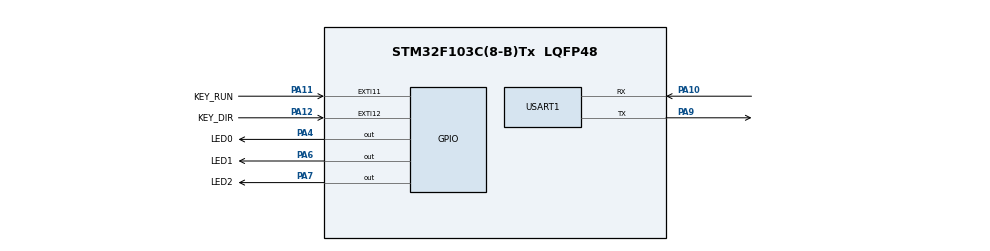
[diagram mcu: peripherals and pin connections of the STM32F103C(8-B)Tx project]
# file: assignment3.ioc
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Mcu.Family=STM32F1
Mcu.Name=STM32F103C(8-B)Tx
Mcu.Package=LQFP48
NVIC.EXTI15_10_IRQn=true\:0\:0\:false\:false\:true\:true\:true\:true
NVIC.PriorityGroup=NVIC_PRIORITYGROUP_4
NVIC.USART1_IRQn=true\:0\:0\:false\:false\:true\:true\:true\:true
PA10.Mode=Asynchronous
PA10.Signal=USART1_RX
PA11.GPIO_Label=KEY_RUN
PA11.GPIO_ModeDefaultEXTI=GPIO_MODE_IT_FALLING
PA11.GPIO_PuPd=GPIO_PULLUP
PA11.Signal=GPXTI11
PA12.GPIO_Label=KEY_DIR
PA12.GPIO_ModeDefaultEXTI=GPIO_MODE_IT_FALLING
PA12.GPIO_PuPd=GPIO_PULLUP
PA12.Signal=GPXTI12
PA13.Mode=Serial_Wire
PA13.Signal=SYS_JTMS-SWDIO
PA14.Mode=Serial_Wire
PA14.Signal=SYS_JTCK-SWCLK
PA4.GPIO_Label=LED0
PA4.GPIO_ModeDefaultOutputPP=GPIO_MODE_OUTPUT_PP
PA4.Signal=GPIO_Output
PA6.GPIO_Label=LED1
PA6.GPIO_ModeDefaultOutputPP=GPIO_MODE_OUTPUT_PP
PA6.GPIO_Speed=GPIO_SPEED_FREQ_HIGH
PA6.Signal=GPIO_Output
PA7.GPIO_Label=LED2
PA7.GPIO_ModeDefaultOutputPP=GPIO_MODE_OUTPUT_PP
PA7.GPIO_Speed=GPIO_SPEED_FREQ_HIGH
PA7.Signal=GPIO_Output
PA9.Mode=Asynchronous
PA9.Signal=USART1_TX
PD0-OSC_IN.Mode=HSE-External-Clock-Source
PD0-OSC_IN.Signal=RCC_OSC_IN
PD1-OSC_OUT.Mode=HSE-External-Clock-Source
PD1-OSC_OUT.Signal=RCC_OSC_OUT
ProjectManager.HeapSize=0x200
ProjectManager.StackSize=0x400
ProjectManager.TargetToolchain=STM32CubeIDE
RCC.APB1Freq_Value=8000000
RCC.APB2Freq_Value=8000000
RCC.PLLSourceVirtual=RCC_PLLSOURCE_HSE
RCC.USBFreq_Value=16000000
USART1.VirtualMode=VM_ASYNC
board=custom

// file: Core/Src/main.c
/* USER CODE BEGIN Header */
/**
  ******************************************************************************
  * @file           : main.c
  * @brief          : Main program body
  ******************************************************************************
  * @attention
  *
  * Copyright (c) 2026 STMicroelectronics.
  * All rights reserved.
  *
  * This software is licensed under terms that can be found in the LICENSE file
  * in the root directory of this software component.
  * If no LICENSE file comes with this software, it is provided AS-IS.
  *
  ******************************************************************************
  */
/* USER CODE END Header */
#include "main.h"
#include "usart.h"
#include "gpio.h"

/* USER CODE BEGIN Includes */
#include "OLED.h"
#include <stdio.h>
/* USER CODE END Includes */

/* USER CODE BEGIN PTD */
typedef struct __attribute__((packed))
{
  uint8_t header;     // 固定帧头 AA
  uint8_t run;        // 00暂停，01运行
  uint8_t dir;        // 00正向，01反向
  uint16_t step_ms;   // 先低字节、后高字节的切换间隔
  uint8_t checksum;   // 前5字节相加后保留低8位
} RxPacket;
/* USER CODE END PTD */

/* USER CODE BEGIN PD */
/* USER CODE BEGIN PD */
#define LED_ON  GPIO_PIN_RESET
#define LED_OFF GPIO_PIN_SET
/* USER CODE END PD */

/* USER CODE BEGIN PV */
volatile uint8_t key_run_event = 0U;  // PA11 中断设置的运行/暂停事件
volatile uint8_t key_dir_event = 0U;  // PA12 中断设置的方向切换事件

uint8_t lamp_running = 1U;      // 0：暂停；1：运行
uint8_t lamp_direction = 0U;    // 0：正向；1：反向
uint16_t lamp_step_ms = 500U;  // 当前切换间隔，串口可修改
uint8_t lamp_led = 0U;  // 当前LED编号：0、1、2
uint8_t oled_dirty = 0U;  // 0：显示已同步；1：需要刷新
uint32_t last_run_key_tick = 0U;  // PA11 上一次有效按下的时间
uint32_t last_dir_key_tick = 0U;  // PA12 上一次有效按下的时间
uint8_t run_key_checking = 0U;    // PA11 正在等待 20ms 电平确认
uint8_t dir_key_checking = 0U;    // PA12 正在等待 20ms 电平确认
volatile uint8_t rx_error_flag = 0U;  // 整包接收重启失败标志
RxPacket rx_packet;                    // 串口中断写入的完整数据包
volatile uint8_t packet_ready = 0U;    // 1表示6字节完整包已收到

char feedback_buffer[64];              // 中断发送期间保持有效的文本
uint8_t feedback_pending = 0U;         // 1表示需要发送状态反馈
volatile uint8_t uart_tx_busy = 0U;   // 1表示USART1正在中断发送
/* USER CODE END PV */

void SystemClock_Config(void);

/* USER CODE BEGIN 0 */
/* USER CODE BEGIN 0 */
static void OLED_RefreshStatus(void)
{
  OLED_ShowString(
      1, 1,
      (lamp_running == 0U) ? "STATE: pausing" : "STATE: running  "
  );

  OLED_ShowString(
      2, 1,
      (lamp_direction == 0U) ? "DIR: forward " : "DIR: backward"
  );
  uint32_t a =HAL_GetTick();
  OLED_ShowString(3, 1, "STEP:");
  OLED_ShowNum(3, 6, (uint32_t)lamp_step_ms, 4);

  OLED_ShowString(4, 1, "LED:");
  OLED_ShowNum(4, 5, (uint32_t)(lamp_led + 1U), 1);
}
/* USER CODE END 0 */
/* USER CODE END 0 */

int main(void)
{

  /* MCU Configuration--------------------------------------------------------*/

  /* Reset of all peripherals, Initializes the Flash interface and the Systick. */
  HAL_Init();

  /* Configure the system clock */
  SystemClock_Config();

  /* Initialize all configured peripherals */
  MX_GPIO_Init();
  MX_USART1_UART_Init();
  /* USER CODE BEGIN 2 */
  OLED_Init();
  OLED_RefreshStatus();
  uint32_t last_tick = HAL_GetTick();
  HAL_StatusTypeDef rx_result;

  rx_result = HAL_UART_Receive_IT(
    &huart1,
    (uint8_t *)&rx_packet,
    sizeof(rx_packet)
);

  if (rx_result != HAL_OK)
  {
    Error_Handler();
  }
  uint8_t hello[] = "HELLO\r\n";  // 启动时发送的测试文本

  if (HAL_UART_Transmit(
          &huart1,
          hello,
          sizeof(hello) - 1,
          100) != HAL_OK)
  {
    Error_Handler();  // 串口发送失败时进入错误处理
  }
  /* USER CODE END 2 */

  /* Infinite loop */
  while (1)
  {

    /* USER CODE BEGIN 3 */
    uint32_t now = HAL_GetTick();  // 获取本轮主循环的当前时间
    if (packet_ready != 0U)
    {
      RxPacket packet = rx_packet;  // 复制本地副本
      packet_ready = 0U;            // 当前包已经签收

      const uint8_t *bytes = (const uint8_t *)&packet;

      uint8_t expected =
          (uint8_t)(bytes[0] + bytes[1] + bytes[2]
                  + bytes[3] + bytes[4]);

      // 所有检查同时通过才更新状态
      if (packet.header == 0xAAU &&
          packet.checksum == expected &&
          packet.run <= 1U &&
          packet.dir <= 1U &&
          packet.step_ms >= 100U &&
          packet.step_ms <= 2000U)
      {
        lamp_running = packet.run;
        lamp_direction = packet.dir;
        lamp_step_ms = packet.step_ms;
        oled_dirty = 1U;
        feedback_pending = 1U;
      }

      // 当前包处理完后，重新启动下一包接收
      if (HAL_UART_Receive_IT(
              &huart1,
              (uint8_t *)&rx_packet,
              sizeof(rx_packet)) != HAL_OK)
      {
        rx_error_flag = 1U;
      }
    }

    // 如果重启接收失败，主循环继续重试
    if (rx_error_flag != 0U)
    {
      if (HAL_UART_Receive_IT(
              &huart1,
              (uint8_t *)&rx_packet,
              sizeof(rx_packet)) == HAL_OK)
      {
        rx_error_flag = 0U;
      }
    }

    if (key_run_event != 0U)  // 收到 PA11 下降沿事件
    {
      key_run_event = 0U;
      last_run_key_tick = now;
      run_key_checking = 1U;
    }

    if (run_key_checking != 0U &&
        (now - last_run_key_tick) >= 20U)  // 等待触点稳定 20ms
    {
      run_key_checking = 0U;

      if (HAL_GPIO_ReadPin(KEY_RUN_GPIO_Port, KEY_RUN_Pin)
          == GPIO_PIN_RESET)  // 仍为低电平，确认按键按下
      {
        lamp_running = (lamp_running == 0U) ? 1U : 0U;
        oled_dirty = 1U;
        feedback_pending = 1U;
      }
    }

    if (key_dir_event != 0U)  // 收到 PA12 下降沿事件
    {
      key_dir_event = 0U;
      last_dir_key_tick = now;
      dir_key_checking = 1U;
    }

    if (dir_key_checking != 0U &&
        (now - last_dir_key_tick) >= 20U)  // 等待触点稳定 20ms
    {
      dir_key_checking = 0U;

      if (HAL_GPIO_ReadPin(GPIOA, GPIO_PIN_12)
          == GPIO_PIN_RESET)  // 仍为低电平，确认按键按下
      {
        lamp_direction = (lamp_direction == 0U) ? 1U : 0U;
        oled_dirty = 1U;
        feedback_pending = 1U;
      }
    }

    if (lamp_running == 0U)         // 暂停状态，保持当前 LED
    {
      last_tick = now;            // 暂停时重新计时
    }
    else if ((now - last_tick) >= lamp_step_ms)  // 运行且已满 500ms
    {
      last_tick = now;            // 记录本次切换时间
      oled_dirty = 1U;
      if (lamp_direction == 0U)  // 正向：0 -> 1 -> 2 -> 0
      {
        lamp_led++;

        if (lamp_led >= 3U)
        {
          lamp_led = 0U;
        }
      }
      else  // 反向：2 -> 1 -> 0 -> 2
      {
        if (lamp_led == 0U)
        {
          lamp_led = 2U;
        }
        else
        {
          lamp_led--;
        }
      }
    }
    HAL_GPIO_WritePin(
    LED0_GPIO_Port,
    LED0_Pin,
    (lamp_led == 0U) ? GPIO_PIN_RESET : GPIO_PIN_SET
);

    HAL_GPIO_WritePin(
        LED1_GPIO_Port,
        LED1_Pin,
        (lamp_led == 1U) ? GPIO_PIN_RESET : GPIO_PIN_SET
    );

    HAL_GPIO_WritePin(
        LED2_GPIO_Port,
        LED2_Pin,
        (lamp_led == 2U) ? GPIO_PIN_RESET : GPIO_PIN_SET
    );
    if (oled_dirty != 0U)
    {
      oled_dirty = 0U;
      OLED_RefreshStatus();
    }
    if (feedback_pending != 0U && uart_tx_busy == 0U)
    {
      int message_length = snprintf(
          feedback_buffer,
          sizeof(feedback_buffer),
          "STATE=%s,DIR=%s,STEP=%u,LED=%u\r\n",
          (lamp_running == 0U) ? "pausing" : "running",
          (lamp_direction == 0U) ? "forward" : "backward",
          (unsigned int)lamp_step_ms,
          (unsigned int)(lamp_led + 1U)
      );

      if (message_length > 0 &&
          message_length < (int)sizeof(feedback_buffer))
      {
        uart_tx_busy = 1U;

        if (HAL_UART_Transmit_IT(
                &huart1,
                (uint8_t *)feedback_buffer,
                (uint16_t)message_length) == HAL_OK)
        {
          feedback_pending = 0U;
        }
        else
        {
          uart_tx_busy = 0U;
        }
      }
    }
  }
  /* USER CODE END 3 */
}

void SystemClock_Config(void)
{
  RCC_OscInitTypeDef RCC_OscInitStruct = {0};
  RCC_ClkInitTypeDef RCC_ClkInitStruct = {0};

  /** Initializes the RCC Oscillators according to the specified parameters
  * in the RCC_OscInitTypeDef structure.
  */
  RCC_OscInitStruct.OscillatorType = RCC_OSCILLATORTYPE_HSI;
  RCC_OscInitStruct.HSIState = RCC_HSI_ON;
  RCC_OscInitStruct.HSICalibrationValue = RCC_HSICALIBRATION_DEFAULT;
  RCC_OscInitStruct.PLL.PLLState = RCC_PLL_NONE;
  if (HAL_RCC_OscConfig(&RCC_OscInitStruct) != HAL_OK)
  {
    Error_Handler();
  }

  /** Initializes the CPU, AHB and APB buses clocks
  */
  RCC_ClkInitStruct.ClockType = RCC_CLOCKTYPE_HCLK|RCC_CLOCKTYPE_SYSCLK
                              |RCC_CLOCKTYPE_PCLK1|RCC_CLOCKTYPE_PCLK2;
  RCC_ClkInitStruct.SYSCLKSource = RCC_SYSCLKSOURCE_HSI;
  RCC_ClkInitStruct.AHBCLKDivider = RCC_SYSCLK_DIV1;
  RCC_ClkInitStruct.APB1CLKDivider = RCC_HCLK_DIV1;
  RCC_ClkInitStruct.APB2CLKDivider = RCC_HCLK_DIV1;

  if (HAL_RCC_ClockConfig(&RCC_ClkInitStruct, FLASH_LATENCY_0) != HAL_OK)
  {
    Error_Handler();
  }
}

/* USER CODE BEGIN 4 */
void HAL_GPIO_EXTI_Callback(uint16_t GPIO_Pin)
{
  if (GPIO_Pin == KEY_RUN_Pin)
  {
    key_run_event = 1U;
  }

  if (GPIO_Pin == GPIO_PIN_12)
  {
    key_dir_event = 1U;
  }
}
void HAL_UART_RxCpltCallback(UART_HandleTypeDef *huart)
{
  if (huart->Instance == USART1)
  {
    packet_ready = 1U;  // 完整6字节已收进rx_packet
  }
}
void HAL_UART_TxCpltCallback(UART_HandleTypeDef *huart)
{
  if (huart->Instance == USART1)
  {
    uart_tx_busy = 0U;  // 本条反馈已经发送完成
  }
}

/* USER CODE END 4 */

void Error_Handler(void)
{
  __disable_irq();
  while (1)
  {
  }
}
